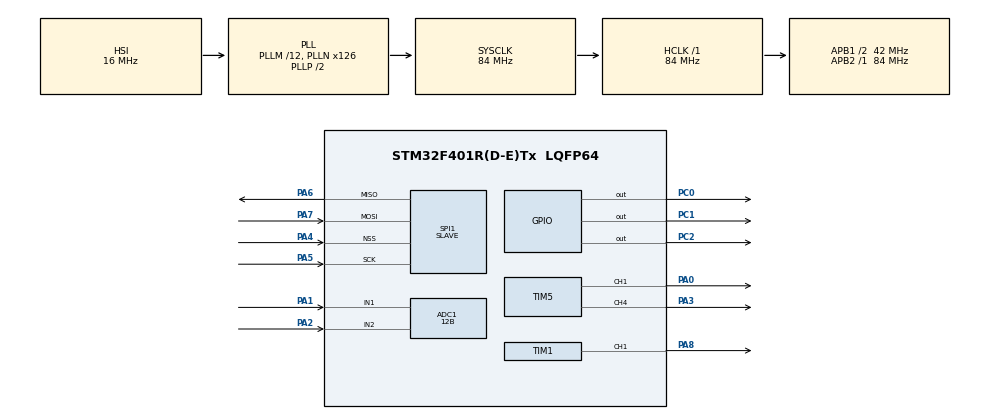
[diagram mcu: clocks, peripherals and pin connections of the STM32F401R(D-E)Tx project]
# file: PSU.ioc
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ADC1.Channel-0\#ChannelRegularConversion=ADC_CHANNEL_1
ADC1.Channel-2\#ChannelRegularConversion=ADC_CHANNEL_2
ADC1.ClockPrescaler=ADC_CLOCK_SYNC_PCLK_DIV4
ADC1.ContinuousConvMode=ENABLE
ADC1.DMAContinuousRequests=ENABLE
ADC1.DataAlign=ADC_DATAALIGN_RIGHT
ADC1.DiscontinuousConvMode=DISABLE
ADC1.EOCSelection=ADC_EOC_SINGLE_CONV
ADC1.EnableAnalogWatchDog=false
ADC1.ExternalTrigConv=ADC_SOFTWARE_START
ADC1.ExternalTrigConvEdge=ADC_EXTERNALTRIGCONVEDGE_NONE
ADC1.InjNumberOfConversion=0
ADC1.NbrOfConversion=2
ADC1.NbrOfConversionFlag=1
ADC1.Rank-0\#ChannelRegularConversion=1
ADC1.Rank-2\#ChannelRegularConversion=2
ADC1.Resolution=ADC_RESOLUTION_12B
ADC1.SamplingTime-0\#ChannelRegularConversion=ADC_SAMPLETIME_480CYCLES
ADC1.SamplingTime-2\#ChannelRegularConversion=ADC_SAMPLETIME_480CYCLES
ADC1.ScanConvMode=ENABLE
ADC1.master=1
Dma.ADC1.2.Direction=DMA_PERIPH_TO_MEMORY
Dma.ADC1.2.FIFOMode=DMA_FIFOMODE_DISABLE
Dma.ADC1.2.Instance=DMA2_Stream0
Dma.ADC1.2.MemDataAlignment=DMA_MDATAALIGN_HALFWORD
Dma.ADC1.2.MemInc=DMA_MINC_ENABLE
Dma.ADC1.2.Mode=DMA_NORMAL
Dma.ADC1.2.PeriphDataAlignment=DMA_PDATAALIGN_HALFWORD
Dma.ADC1.2.PeriphInc=DMA_PINC_DISABLE
Dma.ADC1.2.Priority=DMA_PRIORITY_LOW
Dma.Request0=SPI1_RX
Dma.Request1=SPI1_TX
Dma.Request2=ADC1
Dma.SPI1_RX.0.Direction=DMA_PERIPH_TO_MEMORY
Dma.SPI1_RX.0.FIFOMode=DMA_FIFOMODE_DISABLE
Dma.SPI1_RX.0.Instance=DMA2_Stream2
Dma.SPI1_RX.0.MemDataAlignment=DMA_MDATAALIGN_HALFWORD
Dma.SPI1_RX.0.MemInc=DMA_MINC_ENABLE
Dma.SPI1_RX.0.Mode=DMA_NORMAL
Dma.SPI1_RX.0.PeriphDataAlignment=DMA_PDATAALIGN_HALFWORD
Dma.SPI1_RX.0.PeriphInc=DMA_PINC_DISABLE
Dma.SPI1_RX.0.Priority=DMA_PRIORITY_LOW
Dma.SPI1_TX.1.Direction=DMA_MEMORY_TO_PERIPH
Dma.SPI1_TX.1.FIFOMode=DMA_FIFOMODE_DISABLE
Dma.SPI1_TX.1.Instance=DMA2_Stream3
Dma.SPI1_TX.1.MemDataAlignment=DMA_MDATAALIGN_HALFWORD
Dma.SPI1_TX.1.MemInc=DMA_MINC_ENABLE
Dma.SPI1_TX.1.Mode=DMA_NORMAL
Dma.SPI1_TX.1.PeriphDataAlignment=DMA_PDATAALIGN_HALFWORD
Dma.SPI1_TX.1.PeriphInc=DMA_PINC_DISABLE
Dma.SPI1_TX.1.Priority=DMA_PRIORITY_LOW
Mcu.Family=STM32F4
Mcu.Name=STM32F401R(D-E)Tx
Mcu.Package=LQFP64
NVIC.DMA2_Stream0_IRQn=true\:0\:0\:false\:false\:true\:false
NVIC.DMA2_Stream2_IRQn=true\:0\:0\:false\:false\:true\:false
NVIC.DMA2_Stream3_IRQn=true\:0\:0\:false\:false\:true\:false
NVIC.PriorityGroup=NVIC_PRIORITYGROUP_0
PA0-WKUP.Signal=S_TIM5_CH1
PA1.Signal=ADCx_IN1
PA2.Signal=ADCx_IN2
PA3.Signal=S_TIM5_CH4
PA4.Mode=NSS_Signal_Hard_Input
PA4.Signal=SPI1_NSS
PA5.Mode=Full_Duplex_Slave
PA5.Signal=SPI1_SCK
PA6.Mode=Full_Duplex_Slave
PA6.Signal=SPI1_MISO
PA7.Mode=Full_Duplex_Slave
PA7.Signal=SPI1_MOSI
PA8.Signal=S_TIM1_CH1
PC0.Signal=GPIO_Output
PC1.Signal=GPIO_Output
PC2.Signal=GPIO_Output
ProjectManager.HeapSize=0x200
ProjectManager.StackSize=0x400
ProjectManager.TargetToolchain=SW4STM32
RCC.48MHZClocksFreq_Value=24000000
RCC.AHBFreq_Value=84000000
RCC.APB1CLKDivider=RCC_HCLK_DIV2
RCC.APB1Freq_Value=42000000
RCC.APB1TimFreq_Value=84000000
RCC.APB2Freq_Value=84000000
RCC.APB2TimFreq_Value=84000000
RCC.CortexFreq_Value=84000000
RCC.HCLKFreq_Value=84000000
RCC.HSE_VALUE=8000000
RCC.HSI_VALUE=16000000
RCC.LSE_VALUE=32768
RCC.PLLM=12
RCC.PLLN=126
RCC.PLLQ=7
RCC.SYSCLKFreq_VALUE=84000000
RCC.SYSCLKSource=RCC_SYSCLKSOURCE_PLLCLK
RCC.VCOOutputFreq_Value=168000000
SH.ADCx_IN1.0=ADC1_IN1,IN1
SH.ADCx_IN2.0=ADC1_IN2,IN2
SH.S_TIM1_CH1.0=TIM1_CH1,PWM Generation1 CH1
SH.S_TIM5_CH1.0=TIM5_CH1,PWM Generation1 CH1
SH.S_TIM5_CH4.0=TIM5_CH4,PWM Generation4 CH4
SPI1.DataSize=SPI_DATASIZE_16BIT
SPI1.Direction=SPI_DIRECTION_2LINES
SPI1.Mode=SPI_MODE_SLAVE
SPI1.VirtualNSS=VM_NSSHARD
SPI1.VirtualType=VM_SLAVE
TIM1.Channel-PWM\ Generation1\ CH1=TIM_CHANNEL_1
TIM5.Channel-PWM\ Generation1\ CH1=TIM_CHANNEL_1
TIM5.Channel-PWM\ Generation4\ CH4=TIM_CHANNEL_4
VP_TIM1_VS_ClockSourceINT.Mode=Internal
VP_TIM5_VS_ClockSourceINT.Mode=Internal
board=NUCLEO-F401RE

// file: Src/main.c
/**
  ******************************************************************************
  * @file           : main.c
  * @brief          : Main program body
  ******************************************************************************
  ** This notice applies to any and all portions of this file
  * that are not between comment pairs USER CODE BEGIN and
  * USER CODE END. Other portions of this file, whether
  * inserted by the user or by software development tools
  * are owned by their respective copyright owners.
  *
  * COPYRIGHT(c) 2018 STMicroelectronics
  *
  * Redistribution and use in source and binary forms, with or without modification,
  * are permitted provided that the following conditions are met:
  *   1. Redistributions of source code must retain the above copyright notice,
  *      this list of conditions and the following disclaimer.
  *   2. Redistributions in binary form must reproduce the above copyright notice,
  *      this list of conditions and the following disclaimer in the documentation
  *      and/or other materials provided with the distribution.
  *   3. Neither the name of STMicroelectronics nor the names of its contributors
  *      may be used to endorse or promote products derived from this software
  *      without specific prior written permission.
  *
  * THIS SOFTWARE IS PROVIDED BY THE COPYRIGHT HOLDERS AND CONTRIBUTORS "AS IS"
  * AND ANY EXPRESS OR IMPLIED WARRANTIES, INCLUDING, BUT NOT LIMITED TO, THE
  * IMPLIED WARRANTIES OF MERCHANTABILITY AND FITNESS FOR A PARTICULAR PURPOSE ARE
  * DISCLAIMED. IN NO EVENT SHALL THE COPYRIGHT HOLDER OR CONTRIBUTORS BE LIABLE
  * FOR ANY DIRECT, INDIRECT, INCIDENTAL, SPECIAL, EXEMPLARY, OR CONSEQUENTIAL
  * DAMAGES (INCLUDING, BUT NOT LIMITED TO, PROCUREMENT OF SUBSTITUTE GOODS OR
  * SERVICES; LOSS OF USE, DATA, OR PROFITS; OR BUSINESS INTERRUPTION) HOWEVER
  * CAUSED AND ON ANY THEORY OF LIABILITY, WHETHER IN CONTRACT, STRICT LIABILITY,
  * OR TORT (INCLUDING NEGLIGENCE OR OTHERWISE) ARISING IN ANY WAY OUT OF THE USE
  * OF THIS SOFTWARE, EVEN IF ADVISED OF THE POSSIBILITY OF SUCH DAMAGE.
  *
  ******************************************************************************
  */
#include "main.h"
#include "stm32f4xx_hal.h"

ADC_HandleTypeDef hadc1;
DMA_HandleTypeDef hdma_adc1;

SPI_HandleTypeDef hspi1;
DMA_HandleTypeDef hdma_spi1_rx;
DMA_HandleTypeDef hdma_spi1_tx;

TIM_HandleTypeDef htim1;
TIM_HandleTypeDef htim5;

/* USER CODE BEGIN PV */
/* Private variables ---------------------------------------------------------*/
uint16_t SPI_tx[1]; //ADC Readings
uint16_t SPI_rx[1]; //ADC Readings

//uint16_t duty_cycle_LED = 50;

uint16_t duty_cycle_LED = 0;

//uint32_t duty_cycle_channel_A = 56;
uint32_t duty_cycle_channel_A = 30;

//uint32_t duty_cycle_channel_B = 56;
uint32_t duty_cycle_channel_B = 30;
uint32_t temp_MSB = 0;

uint8_t enable_channel_A = 0;
uint8_t enable_channel_B = 0;

uint8_t enable_channels = 0;

//uint32_t HV_PWM_frequency = 280;
uint32_t HV_PWM_frequency = 400;

uint8_t spi_transmit_receive;

uint16_t spi_received_value;
uint8_t spi_began = 0;
uint8_t state = 1;

uint16_t ack = 0;
uint16_t command = 0;
uint8_t command_treated = 0;
uint16_t data = 0;
uint8_t is_a_command = 1;

uint16_t ADCReadings[2]; //ADC Readings
uint16_t ADC_DMA_buffer[2]; //ADC Readings

uint8_t adc_completed=0; //ADC Readings

char buffer[32];

/* USER CODE END PV */

void SystemClock_Config(void);
static void MX_GPIO_Init(void);
static void MX_DMA_Init(void);
static void MX_TIM1_Init(void);
static void MX_TIM5_Init(void);
static void MX_SPI1_Init(void);
static void MX_ADC1_Init(void);

void HAL_TIM_MspPostInit(TIM_HandleTypeDef *htim);

/* USER CODE BEGIN PFP */
/* Private function prototypes -----------------------------------------------*/

/* USER CODE END PFP */

int main(void)
{

  /* MCU Configuration----------------------------------------------------------*/

  /* Reset of all peripherals, Initializes the Flash interface and the Systick. */
  HAL_Init();

  /* Configure the system clock */
  SystemClock_Config();

  /* Initialize all configured peripherals */
  MX_GPIO_Init();
  MX_DMA_Init();
  MX_TIM1_Init();
  MX_TIM5_Init();
  MX_SPI1_Init();
  MX_ADC1_Init();
  /* USER CODE BEGIN 2 */

  /********** TIM 1 PWM 1 CONF****************/
  // Set the period
  __HAL_TIM_SET_AUTORELOAD(&htim1, 50000);
  // Set the prescaler
  __HAL_TIM_SET_PRESCALER(&htim1, 168-1);
  // Set the duty cycle
  __HAL_TIM_SET_COMPARE(&htim1, TIM_CHANNEL_1, duty_cycle_LED);

  if (HAL_TIM_Base_Start(&htim1) != HAL_OK)
  {
    _Error_Handler(__FILE__, __LINE__);
  }

  if (HAL_TIM_PWM_Start(&htim1,TIM_CHANNEL_1) != HAL_OK)
  {
	_Error_Handler(__FILE__, __LINE__);
  }

  /********** TIM 5 PWM 1 CONF****************/

  //duty_cycle_channel_A, duty_cycle_channel_B = 56;//30 % of 280

  // Set the period
  __HAL_TIM_SET_AUTORELOAD(&htim5, HV_PWM_frequency);
  // Set the prescaler
  __HAL_TIM_SET_PRESCALER(&htim5, 0);
  // Set the duty cycle
  __HAL_TIM_SET_COMPARE(&htim5, TIM_CHANNEL_1, duty_cycle_channel_A);
  __HAL_TIM_SET_COMPARE(&htim5, TIM_CHANNEL_4, duty_cycle_channel_B);

  if (HAL_TIM_Base_Start(&htim5) != HAL_OK)
  {
    _Error_Handler(__FILE__, __LINE__);
  }

  if (HAL_TIM_PWM_Start(&htim5,TIM_CHANNEL_1) != HAL_OK)
  {
	_Error_Handler(__FILE__, __LINE__);
  }

  if (HAL_TIM_PWM_Start(&htim5,TIM_CHANNEL_4) != HAL_OK)
  {
	_Error_Handler(__FILE__, __LINE__);
  }

  HAL_GPIO_WritePin(GPIOC, GPIO_PIN_1, GPIO_PIN_SET);

  HAL_GPIO_WritePin(GPIOC, GPIO_PIN_2, GPIO_PIN_SET);

  SPI_tx[0] = 255;
  //  HAL_SPI_Receive_DMA(&hspi1, (uint16_t*)&SPI_rx, 1);

	//while(HAL_SPI_GetState(&hspi1) != HAL_SPI_STATE_READY){}
  //HAL_SPI_Receive_DMA(&hspi1,(uint8_t*)&SPI_rx, 1);

   if(HAL_SPI_TransmitReceive_DMA(&hspi1, (uint16_t*)&SPI_tx, (uint16_t*)&SPI_rx, 1) != HAL_OK)
   {
       /* Transfer error in transmission process */
       Error_Handler();
   }

   while (HAL_SPI_GetState(&hspi1) != HAL_SPI_STATE_READY)
    {
    }

  //HAL_SPI_Transmit_DMA(&hspi1, (uint16_t*)&SPI_tx, 1);

   HAL_ADC_Start_DMA(&hadc1, (uint32_t*) ADCReadings, 2);

  /* USER CODE END 2 */

  /* Infinite loop */
  while (1)
  {

  /* USER CODE BEGIN 3 */
  // Switch attention basИ sur la valeur recue, prИvoir un cas qui identifie si c value ou command

	  if (spi_transmit_receive == 1 ){

		  spi_transmit_receive = 0;

		  spi_received_value = SPI_rx[0];

		  if ((spi_began == 1) && (spi_received_value<19) && (is_a_command == 0)){
			  is_a_command = 0;
			  data = spi_received_value;
		  }else if ((spi_received_value > 0) && (spi_received_value < 19)){
			  command = spi_received_value;
			  is_a_command = 1;
		  }else{

			  is_a_command = 0;
			  data = spi_received_value;

			  if (spi_began == 0){
				  command = 0;
				  ack = 0;
				  //break;
			  }

		  }

			switch(command){

					// Set Duty cycle MSB for the PWM of HV1
					case 1:

						if(is_a_command){
							ack=command;
						}else{
							// Delete old MSB
							duty_cycle_channel_A = duty_cycle_channel_A & 0x0000FFFF;
							// Set the new one
							temp_MSB = data;
							duty_cycle_channel_A = (temp_MSB << 16) | duty_cycle_channel_A;

							  __HAL_TIM_SET_COMPARE(&htim5, TIM_CHANNEL_1, duty_cycle_channel_A);

							ack=0;
						}

						break;

					// Set Duty cycle LSB for the PWM of HV1
					case 2:

						if(is_a_command){
							ack=command;
						}else{
							// Delete old LSB
						  	duty_cycle_channel_A = duty_cycle_channel_A & 0xFFFF0000;
						  	// Set the new one
							duty_cycle_channel_A = duty_cycle_channel_A | data ;

						  __HAL_TIM_SET_COMPARE(&htim5, TIM_CHANNEL_1, duty_cycle_channel_A);

							ack = 0;
							}

						break;

					// Set Duty cycle MSB for the PWM of HV2
					case 3:

						if(is_a_command){
							ack=command;
						}else{

							// Delete old MSB
							duty_cycle_channel_B = duty_cycle_channel_B & 0x0000FFFF;
							// Set the new one
							temp_MSB = data;
							duty_cycle_channel_B = (temp_MSB << 16) | duty_cycle_channel_B;

						  __HAL_TIM_SET_COMPARE(&htim5, TIM_CHANNEL_4, duty_cycle_channel_B);

							ack = 0;

							}

						break;

					// Set Duty cycle LSB for the PWM of HV2
					case 4:

						if(is_a_command){
							ack=command;
						}else{
							// Delete old LSB
							duty_cycle_channel_B = duty_cycle_channel_B & 0xFFFF0000;
							// Set the new one
							duty_cycle_channel_B = duty_cycle_channel_B | data ;

						  __HAL_TIM_SET_COMPARE(&htim5, TIM_CHANNEL_4, duty_cycle_channel_B);

							ack = 0;

						}
						break;

					// Set Duty cycle for the PWM of the LED
					case 5:

						if(is_a_command == 1){
							ack=command;
						}else{
							duty_cycle_LED = data;
							 __HAL_TIM_SET_COMPARE(&htim1, TIM_CHANNEL_1, duty_cycle_LED);

							 ack=0;
						}

						break;

					// Get Duty cycle MSB for the PWM of HV1
					case 6:

						ack = __HAL_TIM_GET_COMPARE(&htim5, TIM_CHANNEL_1) >> 16;

						break;

					// Get Duty cycle LSB for the PWM of HV1
					case 7:
							ack = __HAL_TIM_GET_COMPARE(&htim5, TIM_CHANNEL_1) & 0x0000FFFF;

						break;

					// Get Duty cycle MSB for the PWM of HV2
					case 8:

						ack = __HAL_TIM_GET_COMPARE(&htim5, TIM_CHANNEL_4) >> 16;

						break;

					// Get Duty cycle MSB for the PWM of HV2
					case 9:

						ack = __HAL_TIM_GET_COMPARE(&htim5, TIM_CHANNEL_4) & 0x0000FFFF;

						break;

					// Get Duty cycle LSB for the PWM of HV2
					case 10:

						ack = __HAL_TIM_GET_COMPARE(&htim1, TIM_CHANNEL_1);

						break;

					// Set Status register controlling PWMs
					case 11:
						if(is_a_command){
							ack=command;
						}else{

							enable_channels = data;
							enable_channel_A = data & 1;
							enable_channel_B = data>>1 & 1;

							if (enable_channel_A == 1)
								HAL_GPIO_WritePin(GPIOC, GPIO_PIN_1, GPIO_PIN_SET);
							else
								HAL_GPIO_WritePin(GPIOC, GPIO_PIN_1, GPIO_PIN_RESET);

							if (enable_channel_B == 1)
								HAL_GPIO_WritePin(GPIOC, GPIO_PIN_2, GPIO_PIN_SET);
							else
								HAL_GPIO_WritePin(GPIOC, GPIO_PIN_2, GPIO_PIN_RESET);
							ack = 0;
						}

						break;

					// Get Status register controlling PWMs
					case 12:

						ack = enable_channels;

						break;

					// Get ADC value channel 1
					case 13:

						ack = ADCReadings[0];

						break;

					// Get ADC value channel 2
					case 14:

						ack = ADCReadings[1];

						break;

					// Set PWM period MSB for HV1 and HV2
					case 15:

						if(is_a_command){
							ack=command;
						}else{

							// Delete old MSB
							HV_PWM_frequency = HV_PWM_frequency & 0x0000FFFF;
							// Set the new one
							temp_MSB = data;
							HV_PWM_frequency = (temp_MSB << 16) | HV_PWM_frequency;

							  __HAL_TIM_SET_AUTORELOAD(&htim5, HV_PWM_frequency);

							ack=0;
						}

						break;

					// Set PWM period LSB for HV1 and HV2
					case 16:

						if(is_a_command){
							ack=command;
						}else{
							// Delete old LSB
							HV_PWM_frequency = HV_PWM_frequency & 0xFFFF0000;
							// Set the new one
							HV_PWM_frequency = HV_PWM_frequency | data ;

						  __HAL_TIM_SET_AUTORELOAD(&htim5, HV_PWM_frequency);

							ack = 0;
						}
						break;

					// GET PWM period MSB of HV1 and HV2
					case 17:

						ack = __HAL_TIM_GET_AUTORELOAD(&htim5) >> 16;

						break;

					// GET PWM period LSB of HV1 and HV2
					case 18:
						ack = __HAL_TIM_GET_AUTORELOAD(&htim5) & 0x0000FFFF;

						break;

					default:
						break;

					}

/*
			snprintf(buffer, 32, "is a command %d", is_a_command);
			debugPrintln(&huart2, buffer);

			snprintf(buffer, 32, "data %d", data);
			debugPrintln(&huart2, buffer);

					snprintf(buffer, 32, "ack %d", ack);
					debugPrintln(&huart2, buffer);

					snprintf(buffer, 32, "cmd %d", command);
					debugPrintln(&huart2, buffer);

					debugPrintln(&huart2, "");

*/

					SPI_tx[0]=ack;
					spi_began = 1;
					is_a_command ^= 1;

				  while (HAL_SPI_GetState(&hspi1) != HAL_SPI_STATE_READY)
					{
					}

				  if(HAL_SPI_TransmitReceive_DMA(&hspi1, (uint16_t*)&SPI_tx, (uint16_t*)&SPI_rx, 1) != HAL_OK)
				   {
					   /* Transfer error in transmission process */
					   Error_Handler();
				   }

  }

  }
  /* USER CODE END 3 */

}

void SystemClock_Config(void)
{

  RCC_OscInitTypeDef RCC_OscInitStruct;
  RCC_ClkInitTypeDef RCC_ClkInitStruct;

    /**Configure the main internal regulator output voltage
    */
  __HAL_RCC_PWR_CLK_ENABLE();

  __HAL_PWR_VOLTAGESCALING_CONFIG(PWR_REGULATOR_VOLTAGE_SCALE2);

    /**Initializes the CPU, AHB and APB busses clocks
    */
  RCC_OscInitStruct.OscillatorType = RCC_OSCILLATORTYPE_HSI;
  RCC_OscInitStruct.HSIState = RCC_HSI_ON;
  RCC_OscInitStruct.HSICalibrationValue = 16;
  RCC_OscInitStruct.PLL.PLLState = RCC_PLL_ON;
  RCC_OscInitStruct.PLL.PLLSource = RCC_PLLSOURCE_HSI;
  RCC_OscInitStruct.PLL.PLLM = 12;
  RCC_OscInitStruct.PLL.PLLN = 126;
  RCC_OscInitStruct.PLL.PLLP = RCC_PLLP_DIV2;
  RCC_OscInitStruct.PLL.PLLQ = 7;
  if (HAL_RCC_OscConfig(&RCC_OscInitStruct) != HAL_OK)
  {
    _Error_Handler(__FILE__, __LINE__);
  }

    /**Initializes the CPU, AHB and APB busses clocks
    */
  RCC_ClkInitStruct.ClockType = RCC_CLOCKTYPE_HCLK|RCC_CLOCKTYPE_SYSCLK
                              |RCC_CLOCKTYPE_PCLK1|RCC_CLOCKTYPE_PCLK2;
  RCC_ClkInitStruct.SYSCLKSource = RCC_SYSCLKSOURCE_PLLCLK;
  RCC_ClkInitStruct.AHBCLKDivider = RCC_SYSCLK_DIV1;
  RCC_ClkInitStruct.APB1CLKDivider = RCC_HCLK_DIV2;
  RCC_ClkInitStruct.APB2CLKDivider = RCC_HCLK_DIV1;

  if (HAL_RCC_ClockConfig(&RCC_ClkInitStruct, FLASH_LATENCY_2) != HAL_OK)
  {
    _Error_Handler(__FILE__, __LINE__);
  }

    /**Configure the Systick interrupt time
    */
  HAL_SYSTICK_Config(HAL_RCC_GetHCLKFreq()/1000);

    /**Configure the Systick
    */
  HAL_SYSTICK_CLKSourceConfig(SYSTICK_CLKSOURCE_HCLK);

  /* SysTick_IRQn interrupt configuration */
  HAL_NVIC_SetPriority(SysTick_IRQn, 0, 0);
}

/* ADC1 init function */
static void MX_ADC1_Init(void)
{

  ADC_ChannelConfTypeDef sConfig;

    /**Configure the global features of the ADC (Clock, Resolution, Data Alignment and number of conversion)
    */
  hadc1.Instance = ADC1;
  hadc1.Init.ClockPrescaler = ADC_CLOCK_SYNC_PCLK_DIV4;
  hadc1.Init.Resolution = ADC_RESOLUTION_12B;
  hadc1.Init.ScanConvMode = ENABLE;
  hadc1.Init.ContinuousConvMode = ENABLE;
  hadc1.Init.DiscontinuousConvMode = DISABLE;
  hadc1.Init.ExternalTrigConvEdge = ADC_EXTERNALTRIGCONVEDGE_NONE;
  hadc1.Init.ExternalTrigConv = ADC_SOFTWARE_START;
  hadc1.Init.DataAlign = ADC_DATAALIGN_RIGHT;
  hadc1.Init.NbrOfConversion = 2;
  hadc1.Init.DMAContinuousRequests = ENABLE;
  hadc1.Init.EOCSelection = ADC_EOC_SINGLE_CONV;
  if (HAL_ADC_Init(&hadc1) != HAL_OK)
  {
    _Error_Handler(__FILE__, __LINE__);
  }

    /**Configure for the selected ADC regular channel its corresponding rank in the sequencer and its sample time.
    */
  sConfig.Channel = ADC_CHANNEL_1;
  sConfig.Rank = 1;
  sConfig.SamplingTime = ADC_SAMPLETIME_480CYCLES;
  if (HAL_ADC_ConfigChannel(&hadc1, &sConfig) != HAL_OK)
  {
    _Error_Handler(__FILE__, __LINE__);
  }

    /**Configure for the selected ADC regular channel its corresponding rank in the sequencer and its sample time.
    */
  sConfig.Channel = ADC_CHANNEL_2;
  sConfig.Rank = 2;
  if (HAL_ADC_ConfigChannel(&hadc1, &sConfig) != HAL_OK)
  {
    _Error_Handler(__FILE__, __LINE__);
  }

}

/* SPI1 init function */
static void MX_SPI1_Init(void)
{

  /* SPI1 parameter configuration*/
  hspi1.Instance = SPI1;
  hspi1.Init.Mode = SPI_MODE_SLAVE;
  hspi1.Init.Direction = SPI_DIRECTION_2LINES;
  hspi1.Init.DataSize = SPI_DATASIZE_16BIT;
  hspi1.Init.CLKPolarity = SPI_POLARITY_LOW;
  hspi1.Init.CLKPhase = SPI_PHASE_1EDGE;
  hspi1.Init.NSS = SPI_NSS_HARD_INPUT;
  hspi1.Init.FirstBit = SPI_FIRSTBIT_MSB;
  hspi1.Init.TIMode = SPI_TIMODE_DISABLE;
  hspi1.Init.CRCCalculation = SPI_CRCCALCULATION_DISABLE;
  hspi1.Init.CRCPolynomial = 10;
  if (HAL_SPI_Init(&hspi1) != HAL_OK)
  {
    _Error_Handler(__FILE__, __LINE__);
  }

}

/* TIM1 init function */
static void MX_TIM1_Init(void)
{

  TIM_ClockConfigTypeDef sClockSourceConfig;
  TIM_MasterConfigTypeDef sMasterConfig;
  TIM_OC_InitTypeDef sConfigOC;
  TIM_BreakDeadTimeConfigTypeDef sBreakDeadTimeConfig;

  htim1.Instance = TIM1;
  htim1.Init.Prescaler = 0;
  htim1.Init.CounterMode = TIM_COUNTERMODE_UP;
  htim1.Init.Period = 0;
  htim1.Init.ClockDivision = TIM_CLOCKDIVISION_DIV1;
  htim1.Init.RepetitionCounter = 0;
  if (HAL_TIM_Base_Init(&htim1) != HAL_OK)
  {
    _Error_Handler(__FILE__, __LINE__);
  }

  sClockSourceConfig.ClockSource = TIM_CLOCKSOURCE_INTERNAL;
  if (HAL_TIM_ConfigClockSource(&htim1, &sClockSourceConfig) != HAL_OK)
  {
    _Error_Handler(__FILE__, __LINE__);
  }

  if (HAL_TIM_PWM_Init(&htim1) != HAL_OK)
  {
    _Error_Handler(__FILE__, __LINE__);
  }

  sMasterConfig.MasterOutputTrigger = TIM_TRGO_RESET;
  sMasterConfig.MasterSlaveMode = TIM_MASTERSLAVEMODE_DISABLE;
  if (HAL_TIMEx_MasterConfigSynchronization(&htim1, &sMasterConfig) != HAL_OK)
  {
    _Error_Handler(__FILE__, __LINE__);
  }

  sConfigOC.OCMode = TIM_OCMODE_PWM1;
  sConfigOC.Pulse = 0;
  sConfigOC.OCPolarity = TIM_OCPOLARITY_HIGH;
  sConfigOC.OCNPolarity = TIM_OCNPOLARITY_HIGH;
  sConfigOC.OCFastMode = TIM_OCFAST_DISABLE;
  sConfigOC.OCIdleState = TIM_OCIDLESTATE_RESET;
  sConfigOC.OCNIdleState = TIM_OCNIDLESTATE_RESET;
  if (HAL_TIM_PWM_ConfigChannel(&htim1, &sConfigOC, TIM_CHANNEL_1) != HAL_OK)
  {
    _Error_Handler(__FILE__, __LINE__);
  }

  sBreakDeadTimeConfig.OffStateRunMode = TIM_OSSR_DISABLE;
  sBreakDeadTimeConfig.OffStateIDLEMode = TIM_OSSI_DISABLE;
  sBreakDeadTimeConfig.LockLevel = TIM_LOCKLEVEL_OFF;
  sBreakDeadTimeConfig.DeadTime = 0;
  sBreakDeadTimeConfig.BreakState = TIM_BREAK_DISABLE;
  sBreakDeadTimeConfig.BreakPolarity = TIM_BREAKPOLARITY_HIGH;
  sBreakDeadTimeConfig.AutomaticOutput = TIM_AUTOMATICOUTPUT_DISABLE;
  if (HAL_TIMEx_ConfigBreakDeadTime(&htim1, &sBreakDeadTimeConfig) != HAL_OK)
  {
    _Error_Handler(__FILE__, __LINE__);
  }

  HAL_TIM_MspPostInit(&htim1);

}

/* TIM5 init function */
static void MX_TIM5_Init(void)
{

  TIM_ClockConfigTypeDef sClockSourceConfig;
  TIM_MasterConfigTypeDef sMasterConfig;
  TIM_OC_InitTypeDef sConfigOC;

  htim5.Instance = TIM5;
  htim5.Init.Prescaler = 0;
  htim5.Init.CounterMode = TIM_COUNTERMODE_UP;
  htim5.Init.Period = 0;
  htim5.Init.ClockDivision = TIM_CLOCKDIVISION_DIV1;
  if (HAL_TIM_Base_Init(&htim5) != HAL_OK)
  {
    _Error_Handler(__FILE__, __LINE__);
  }

  sClockSourceConfig.ClockSource = TIM_CLOCKSOURCE_INTERNAL;
  if (HAL_TIM_ConfigClockSource(&htim5, &sClockSourceConfig) != HAL_OK)
  {
    _Error_Handler(__FILE__, __LINE__);
  }

  if (HAL_TIM_PWM_Init(&htim5) != HAL_OK)
  {
    _Error_Handler(__FILE__, __LINE__);
  }

  sMasterConfig.MasterOutputTrigger = TIM_TRGO_RESET;
  sMasterConfig.MasterSlaveMode = TIM_MASTERSLAVEMODE_DISABLE;
  if (HAL_TIMEx_MasterConfigSynchronization(&htim5, &sMasterConfig) != HAL_OK)
  {
    _Error_Handler(__FILE__, __LINE__);
  }

  sConfigOC.OCMode = TIM_OCMODE_PWM1;
  sConfigOC.Pulse = 0;
  sConfigOC.OCPolarity = TIM_OCPOLARITY_HIGH;
  sConfigOC.OCFastMode = TIM_OCFAST_DISABLE;
  if (HAL_TIM_PWM_ConfigChannel(&htim5, &sConfigOC, TIM_CHANNEL_1) != HAL_OK)
  {
    _Error_Handler(__FILE__, __LINE__);
  }

  if (HAL_TIM_PWM_ConfigChannel(&htim5, &sConfigOC, TIM_CHANNEL_4) != HAL_OK)
  {
    _Error_Handler(__FILE__, __LINE__);
  }

  HAL_TIM_MspPostInit(&htim5);

}

static void MX_DMA_Init(void)
{
  /* DMA controller clock enable */
  __HAL_RCC_DMA2_CLK_ENABLE();

  /* DMA interrupt init */
  /* DMA2_Stream0_IRQn interrupt configuration */
  HAL_NVIC_SetPriority(DMA2_Stream0_IRQn, 0, 0);
  HAL_NVIC_EnableIRQ(DMA2_Stream0_IRQn);
  /* DMA2_Stream2_IRQn interrupt configuration */
  HAL_NVIC_SetPriority(DMA2_Stream2_IRQn, 0, 0);
  HAL_NVIC_EnableIRQ(DMA2_Stream2_IRQn);
  /* DMA2_Stream3_IRQn interrupt configuration */
  HAL_NVIC_SetPriority(DMA2_Stream3_IRQn, 0, 0);
  HAL_NVIC_EnableIRQ(DMA2_Stream3_IRQn);

}

/** Configure pins as
        * Analog
        * Input
        * Output
        * EVENT_OUT
        * EXTI
*/
static void MX_GPIO_Init(void)
{

  GPIO_InitTypeDef GPIO_InitStruct;

  /* GPIO Ports Clock Enable */
  __HAL_RCC_GPIOC_CLK_ENABLE();
  __HAL_RCC_GPIOA_CLK_ENABLE();

  /*Configure GPIO pin Output Level */
  HAL_GPIO_WritePin(GPIOC, GPIO_PIN_0|GPIO_PIN_1|GPIO_PIN_2, GPIO_PIN_RESET);

  /*Configure GPIO pins : PC0 PC1 PC2 */
  GPIO_InitStruct.Pin = GPIO_PIN_0|GPIO_PIN_1|GPIO_PIN_2;
  GPIO_InitStruct.Mode = GPIO_MODE_OUTPUT_PP;
  GPIO_InitStruct.Pull = GPIO_NOPULL;
  GPIO_InitStruct.Speed = GPIO_SPEED_FREQ_LOW;
  HAL_GPIO_Init(GPIOC, &GPIO_InitStruct);

}

/* USER CODE BEGIN 4 */
/*
void debugPrintln(UART_HandleTypeDef *huart, char _out[]){
 HAL_UART_Transmit(huart, (uint8_t *) _out, strlen(_out), 10);
 char newline[2] = "\r\n";
 HAL_UART_Transmit(huart, (uint8_t *) newline, 2, 10);
}*/
/* USER CODE END 4 */

void _Error_Handler(char *file, int line)
{
  while(1)
  {
  }
}

/************************ (C) COPYRIGHT STMicroelectronics *****END OF FILE****/
